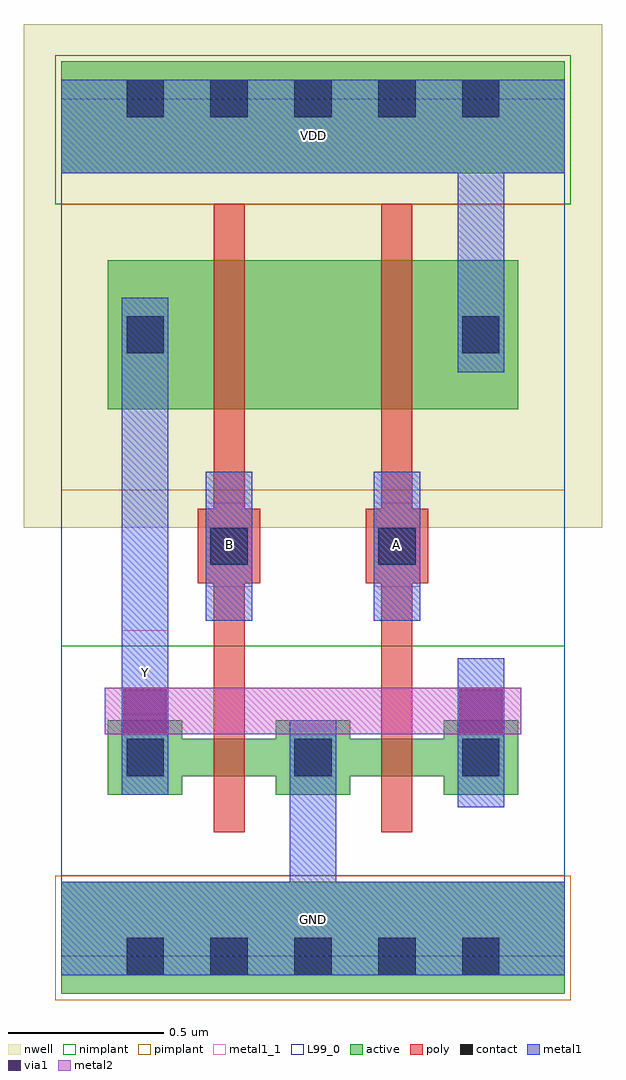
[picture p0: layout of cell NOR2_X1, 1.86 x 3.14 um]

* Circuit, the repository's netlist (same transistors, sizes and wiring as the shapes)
* TV3_CELLS/NOR2_X1: netlist from Virtuoso schematic
.SUBCKT NOR2_X1 A B GND VDD Y
MMN1 Y B GND GND nmos1v w=120n l=100n
MMN0 Y A GND GND nmos1v w=120n l=100n
MMP1 Y B p1 VDD pmos1v w=480n l=100n
MMP0 p1 A VDD VDD pmos1v w=480n l=100n
.ENDS NOR2_X1

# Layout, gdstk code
import gdstk
lib = gdstk.Library(unit=1e-6, precision=5e-10)
def R(c, l, rs):  # rectangles x0, y0, x1, y1
    for r in rs: c.add(gdstk.rectangle(r[:2], r[2:], *l))
def A(c, l, x, y, w, h, nx, ny, dx, dy):  # array of equal rectangles
    R(c, l, [(x+i*dx, y+j*dy, x+i*dx+w, y+j*dy+h) for i in range(nx) for j in range(ny)])
active = (1, 0)
nwell = (2, 0)
poly = (3, 0)
nimplant = (4, 0)
pimplant = (5, 0)
contact = (6, 0)
metal1 = (7, 0)
metal1_1 = (7, 1)
via1 = (8, 0)
metal2 = (9, 0)
L99_0 = (99, 0)

nor2_x1 = lib.new_cell('NOR2_X1')
A(nor2_x1, active, 0.15, 0.52, 0.24, 0.24, 3, 1, 0.54, 0)
A(nor2_x1, active, 0.15, 1.76, 0.24, 0.48, 3, 1, 0.54, 0)
R(nor2_x1, active, [(0,-0.12,1.62,0.24), (0.39,0.58,0.69,0.7), (0.93,0.58,1.23,0.7), (0.39,1.76,0.69,2.24), (0.93,1.76,1.23,2.24), (0,2.52,1.62,2.88)])
R(nor2_x1, nwell, [(-0.12,1.38,1.74,3)])
R(nor2_x1, poly, [(0.49,0.4,0.59,2.42), (1.03,0.4,1.13,2.42), (0.44,1.2,0.64,1.44), (0.98,1.2,1.18,1.44)])
R(nor2_x1, nimplant, [(0,0.26,1.62,1), (-0.02,2.42,1.64,2.9)])
R(nor2_x1, pimplant, [(-0.02,-0.14,1.64,0.26), (0,1.5,1.62,2.42)])
A(nor2_x1, contact, 0.21, -0.06, 0.12, 0.12, 5, 2, 0.27, 2.76)
A(nor2_x1, contact, 0.21, 0.58, 0.12, 0.12, 3, 1, 0.54, 0)
R(nor2_x1, contact, [(0.48,1.26,0.6,1.38), (1.02,1.26,1.14,1.38), (0.21,1.94,0.33,2.06), (1.29,1.94,1.41,2.06)])
R(nor2_x1, metal1, [(0,-0.06,1.62,0.24), (0.735,0,0.885,0.76), (1.275,0.48,1.425,0.96), (0.195,0.52,0.345,2.12), (0.465,1.08,0.615,1.56), (1.005,1.08,1.155,1.56), (1.275,1.88,1.425,2.76), (0,2.52,1.62,2.82)])
R(nor2_x1, metal1_1, [(0,0,1.62,0.24), (0.195,0.78,0.345,1.05), (0.465,1.19,0.615,1.46), (1.005,1.19,1.155,1.46), (0,2.52,1.62,2.76)])
R(nor2_x1, via1, [(0.2,0.72,0.34,0.86), (1.28,0.72,1.42,0.86)])
R(nor2_x1, metal2, [(0.14,0.715,1.48,0.865)])
R(nor2_x1, L99_0, [(0,0,1.62,2.76)])
nor2_x1.add(gdstk.Label('Y', (0.27,0.915), layer=7, texttype=3))
nor2_x1.add(gdstk.Label('B', (0.54,1.325), layer=7, texttype=3))
nor2_x1.add(gdstk.Label('A', (1.08,1.325), layer=7, texttype=3))
nor2_x1.add(gdstk.Label('VDD', (0.81,2.64), layer=7, texttype=3))
nor2_x1.add(gdstk.Label('GND', (0.81,0.12), layer=7, texttype=3))

lib.write_gds('NOR2_X1.gds')
